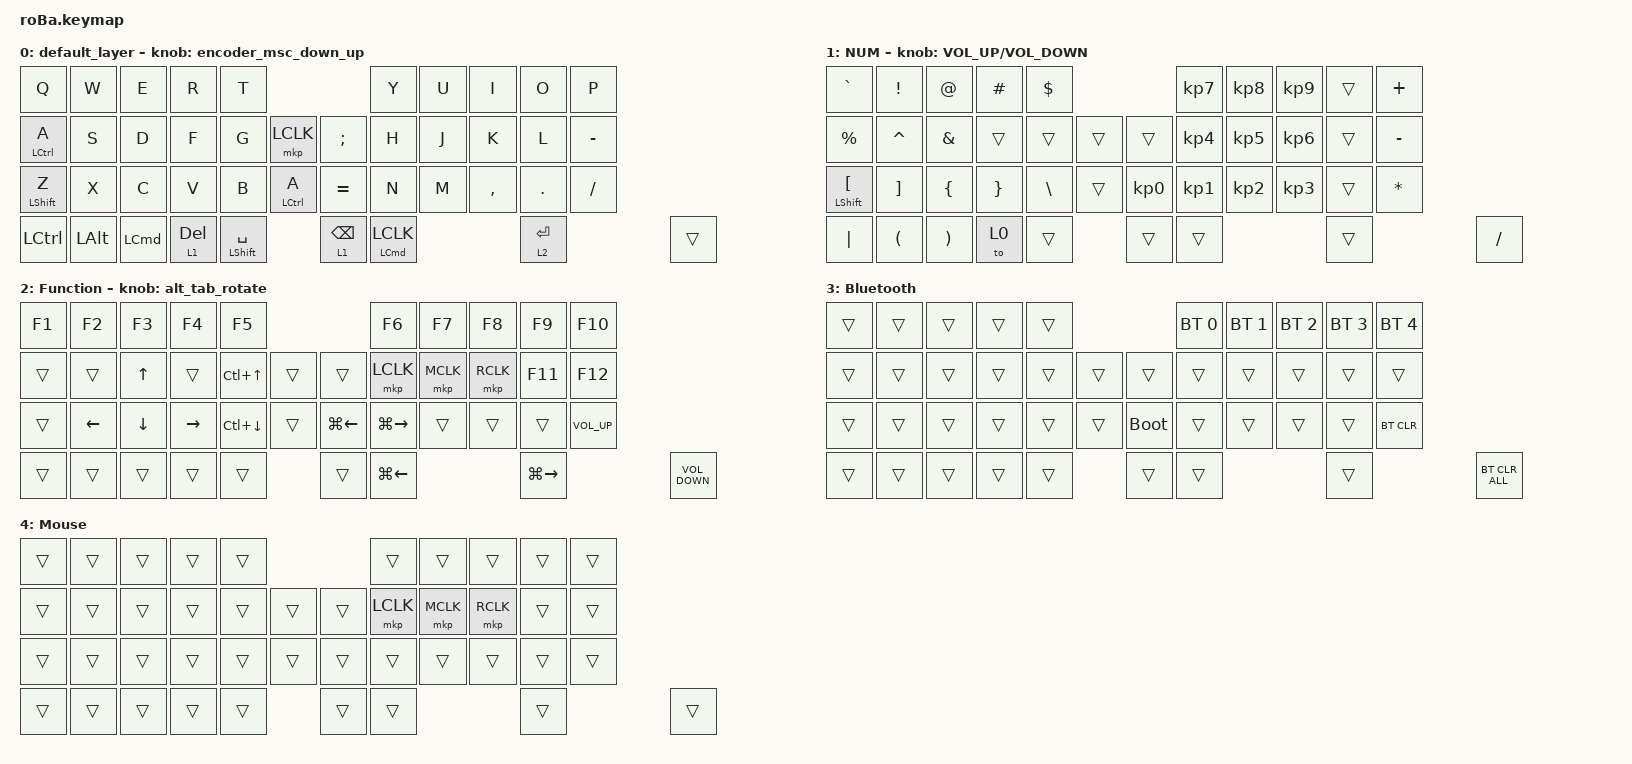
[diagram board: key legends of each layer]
#include <dt-bindings/zmk/mouse.h>
#include <input/processors.dtsi>
#include <zephyr/dt-bindings/input/input-event-codes.h>
#include <behaviors.dtsi>
#include <dt-bindings/zmk/bt.h>
#include <dt-bindings/zmk/keys.h>
#include <dt-bindings/zmk/pointing.h>

#define ZMK_POINTING_DEFAULT_SCRL_VAL 80

&mt {
    flavor = "tap-preferred";
    quick-tap-ms = <150>;
    tapping-term-ms = <180>;
};

&lt {
    quick-tap-ms = <150>;
    tapping-term-ms = <180>;
};

&trackball {
    // automouse-layer = <4>;

    scroll-layers = <2>;

    // arrows {
    //     layers = <3>;
    //     bindings =
    //         <&kp RIGHT_ARROW>,
    //         <&kp LEFT_ARROW>,
    //         <&kp UP_ARROW>,
    //         <&kp DOWN_ARROW>;
    //     tick = <10>;
    //     wait-ms = <5>;
    //     tap-ms = <5>;
    // };
};

&trackball_listener {
    input-processors = <
      &zip_x_scaler 5 2
      &zip_y_scaler 5 2
    >;

    scroll {
        layers = <2>;
        input-processors = <
          &zip_xy_to_scroll_mapper
          &zip_x_scaler 0 1
          &zip_y_scaler 1 4
          &zip_scroll_scaler 1 8  
        >;
    };
};

/ {
    combos {
        compatible = "zmk,combos";

        tab {
            bindings = <&kp TAB>;
            key-positions = <11 12>;
        };

        shift_tab {
            bindings = <&kp LS(TAB)>;
            key-positions = <12 13>;
        };

        escape {
            bindings = <&to_layer_0 ESCAPE>;
            key-positions = <0 1>;
        };

        backtick {
            bindings = <&kp GRAVE>;
            key-positions = <1 2>;
        };

        exclamation {
            bindings = <&kp EXCLAMATION>;
            key-positions = <2 3>;
        };

        at_sign {
            bindings = <&kp AT_SIGN>;
            key-positions = <3 4>;
        };

        left_parenthesis {
            bindings = <&kp LEFT_PARENTHESIS>;
            key-positions = <6 7>;
        };

        right_parenthesis {
            bindings = <&kp RIGHT_PARENTHESIS>;
            key-positions = <7 8>;
        };

        ampersand {
            bindings = <&kp AMPERSAND>;
            key-positions = <8 9>;
        };

        left_bracket {
            bindings = <&kp LEFT_BRACKET>;
            key-positions = <18 19>;
        };

        right_bracket {
            bindings = <&kp RIGHT_BRACKET>;
            key-positions = <19 20>;
        };

        single_quote {
            bindings = <&kp SINGLE_QUOTE>;
            key-positions = <20 21>;
        };

        language_switch {
            bindings = <&kp LG(SPACE)>;
            key-positions = <13 14>;
        };

        cmd_enter {
            bindings = <&kp LG(ENTER)>;
            key-positions = <17 18>;
        };

        left_click {
            bindings = <&mkp LCLK>;
            key-positions = <16 17>;
        };
    };

    macros {
        to_layer_0: to_layer_0 {
            compatible = "zmk,behavior-macro-one-param";
            #binding-cells = <1>;
            bindings = <&to 0 &macro_param_1to1 &kp MACRO_PLACEHOLDER>;
            label = "TO_LAYER_0";
        };
    };

    behaviors {
        lt_to_layer_0: lt_to_layer_0 {
            compatible = "zmk,behavior-hold-tap";
            label = "LAYER_TAP_TO_0";
            bindings = <&mo>, <&to_layer_0>;

            #binding-cells = <2>;
            tapping-term-ms = <180>;
        };

        mouse_command: mouse_command {
            compatible = "zmk,behavior-hold-tap";
            label = "MOUSE_COMMAND";
            bindings = <&kp>, <&mkp>;

            #binding-cells = <2>;
            tapping-term-ms = <180>;
            flavor = "tap-preferred";
        };

        encoder_msc_down_up: encoder_msc_down_up {
            compatible = "zmk,behavior-sensor-rotate";
            label = "ENCODER_MSC_DOWN_UP";
            #sensor-binding-cells = <0>;
            bindings = <&msc SCRL_DOWN>, <&msc SCRL_UP>;

            tap-ms = <20>;
        };

        alt_tab_rotate: alt_tab_rotate {
            compatible = "zmk,behavior-sensor-rotate";
            label = "ALT_TAB_ROTATE";
            #sensor-binding-cells = <0>;
            bindings = <&kp LG(LA(LEFT))>, <&kp LG(LA(RIGHT))>;

            tap-ms = <20>;
        };
    };

    keymap {
        compatible = "zmk,keymap";

        default_layer {
            bindings = <
&kp Q               &kp W     &kp E             &kp R                 &kp T                                             &kp Y        &kp U  &kp I      &kp O    &kp P
&mt LEFT_CONTROL A  &kp S     &kp D             &kp F                 &kp G      &mkp LCLK            &kp SEMICOLON     &kp H        &kp J  &kp K      &kp L    &kp MINUS
&mt LEFT_SHIFT Z    &kp X     &kp C             &kp V                 &kp B      &mt LEFT_CONTROL A      &kp EQUAL         &kp N        &kp M  &kp COMMA  &kp DOT  &kp SLASH
&kp LCTRL           &kp LALT  &kp LEFT_COMMAND  &lt_to_layer_0 1 DEL  &mt LEFT_SHIFT SPACE  &lt 1 BACKSPACE        &mouse_command LEFT_COMMAND LCLK  &lt 2 ENTER                             &trans
            >;

            sensor-bindings = <&encoder_msc_down_up>;
        };

        NUM {
            bindings = <
&kp GRAVE                    &kp EXCLAMATION       &kp AT_SIGN            &kp HASH         &kp DOLLAR                                  &kp KP_NUMBER_7  &kp KP_NUMBER_8  &kp KP_NUMBER_9  &trans  &kp PLUS
&kp PERCENT                  &kp CARET             &kp AMPERSAND          &trans           &trans         &trans      &trans           &kp KP_NUMBER_4  &kp KP_NUMBER_5  &kp KP_NUMBER_6  &trans  &kp MINUS
&mt LEFT_SHIFT LEFT_BRACKET  &kp RIGHT_BRACKET     &kp LEFT_BRACE         &kp RIGHT_BRACE  &kp BACKSLASH  &trans      &kp KP_NUMBER_0  &kp KP_NUMBER_1  &kp KP_NUMBER_2  &kp KP_NUMBER_3  &trans  &kp ASTERISK
&kp PIPE                     &kp LEFT_PARENTHESIS  &kp RIGHT_PARENTHESIS  &to 0            &trans         &trans      &trans           &trans                                                     &kp SLASH
            >;

            sensor-bindings = <&inc_dec_kp C_VOLUME_UP C_VOLUME_DOWN>;
        };

        Function {
            bindings = <
&kp F1  &kp F2    &kp F3        &kp F4     &kp F5                                      &kp F6         &kp F7     &kp F8     &kp F9   &kp F10
&trans  &trans    &kp UP_ARROW  &trans     &kp LC(UP_ARROW)  &trans      &trans        &mkp LCLK      &mkp MCLK  &mkp RCLK  &kp F11  &kp F12
&trans  &kp LEFT  &kp DOWN      &kp RIGHT  &kp LC(DOWN)      &trans      &kp LG(LEFT)  &kp LG(RIGHT)  &trans     &trans     &trans   &kp C_VOLUME_UP
&trans  &trans    &trans        &trans     &trans            &trans      &kp LG(LEFT)  &kp LG(RIGHT)                                 &kp C_VOLUME_DOWN
            >;

            sensor-bindings = <&alt_tab_rotate>;
        };

        Bluetooth {
            bindings = <
&trans  &trans  &trans  &trans  &trans                           &bt BT_SEL 0  &bt BT_SEL 1  &bt BT_SEL 2  &bt BT_SEL 3  &bt BT_SEL 4
&trans  &trans  &trans  &trans  &trans  &trans      &trans       &trans        &trans        &trans        &trans        &trans
&trans  &trans  &trans  &trans  &trans  &trans      &bootloader  &trans        &trans        &trans        &trans        &bt BT_CLR
&trans  &trans  &trans  &trans  &trans  &trans      &trans       &trans                                                  &bt BT_CLR_ALL
            >;
        };

        Mouse {
            bindings = <
&trans  &trans  &trans  &trans  &trans                      &trans     &trans     &trans     &trans  &trans
&trans  &trans  &trans  &trans  &trans  &trans      &trans  &mkp LCLK  &mkp MCLK  &mkp RCLK  &trans  &trans
&trans  &trans  &trans  &trans  &trans  &trans      &trans  &trans     &trans     &trans     &trans  &trans
&trans  &trans  &trans  &trans  &trans  &trans      &trans  &trans                                   &trans
            >;
        };
    };
};
